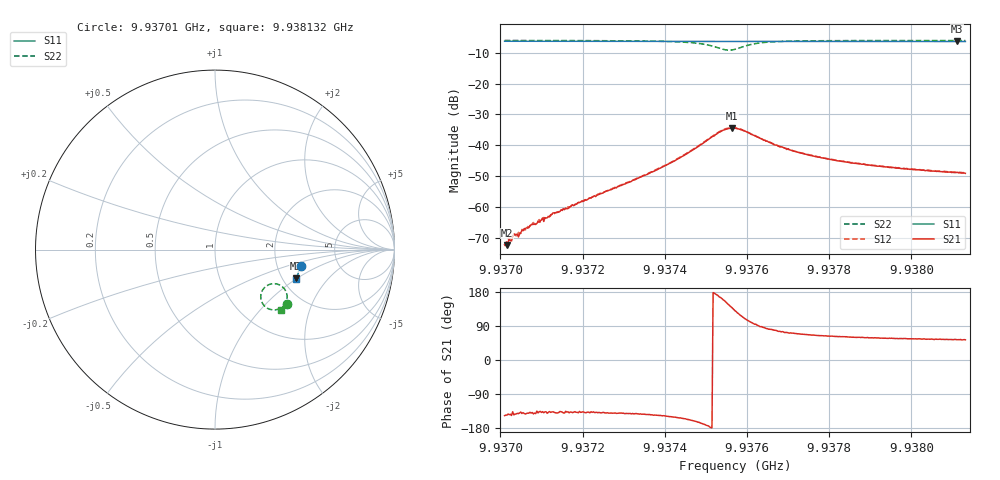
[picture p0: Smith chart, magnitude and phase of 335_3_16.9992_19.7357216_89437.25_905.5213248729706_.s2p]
#  HZ  S  RI  R  50.00
! Rohde & Schwarz Vector Network Analyzer
! Rohde-Schwarz,ZNB20-2Port,1311601062101988,3.16
! Created: UTC 3/20/2024, 11:07:05 PM
! freq[Hz]  re:S11  im:S11  re:S21  im:S21  re:S12  im:S12  re:S22  im:S22
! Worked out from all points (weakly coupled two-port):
!   401 points, 9.93701 GHz to 9.938132 GHz, reference 50 ohm
!   highest |S21| = -34.42 dB at 9.937562 GHz (marker M1); lowest = -72.4 dB at 9.937016 GHz (marker M2)
!   lowest |S11| = -6.4 dB at 9.938112 GHz (marker M3), VSWR 2.85, Z = 118 - j49.3 ohm
!   |S11| at or under -10 dB: nowhere
!   |S22| runs from -9.2 to -6.0 dB; largest |S21 - S12| = 0.00087
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9.93701e9  0.4764 -0.0889  -0.000203 -0.000133  -0.000207 -0.000102  0.3985 -0.3005
9.9370157e9  0.4764 -0.0892  -0.000197 -0.000137  -0.000244 -0.000146  0.398 -0.3008
9.9370213e9  0.4763 -0.0895  -0.000251 -0.000181  -0.000238 -0.000162  0.3977 -0.3014
9.9370353e9  0.476 -0.0905  -0.000284 -0.000215  -0.000285 -0.000213  0.3967 -0.3021
9.9370437e9  0.4757 -0.091  -0.000255 -0.000203  -0.000328 -0.000202  0.396 -0.3029
9.9370577e9  0.4755 -0.092  -0.000346 -0.000279  -0.000337 -0.000261  0.3952 -0.3039
9.9370745e9  0.4753 -0.0932  -0.000393 -0.000329  -0.000373 -0.000324  0.394 -0.3052
9.9371278e9  0.4743 -0.0968  -0.00058 -0.000547  -0.000579 -0.000482  0.3899 -0.3093
9.9371979e9  0.4729 -0.1016  -0.0009 -0.000821  -0.000933 -0.000828  0.3835 -0.3147
9.9373857e9  0.4691 -0.1142  -0.00349 -0.00232  -0.00354 -0.00229  0.3524 -0.3326
9.9374418e9  0.4676 -0.1181  -0.00588 -0.00288  -0.00604 -0.00284  0.3295 -0.3364
9.9374979e9  0.4659 -0.1217  -0.0112 -0.00185  -0.0115 -0.00161  0.2855 -0.3226
9.9375371e9  0.4644 -0.1237  -0.0162 0.00472  -0.0164 0.0054  0.2548 -0.2631
9.9375624e9  0.4638 -0.1243  -0.0144 0.0124  -0.0141 0.013  0.2817 -0.2063
9.9375708e9  0.4639 -0.1247  -0.0122 0.0145  -0.0118 0.0149  0.3009 -0.195
9.9376297e9  0.464 -0.1283  0.000174 0.0133  0.00037 0.0132  0.3924 -0.2274
9.9376857e9  0.4631 -0.1325  0.00244 0.00906  0.00263 0.00888  0.4017 -0.2673
9.9377586e9  0.4615 -0.1374  0.00275 0.00617  0.0029 0.00619  0.3967 -0.2924
9.937854e9  0.4593 -0.1438  0.00257 0.00447  0.00266 0.0045  0.3879 -0.3097
9.9379465e9  0.4569 -0.1497  0.00233 0.00369  0.00246 0.00369  0.3807 -0.3201
9.9381119e9  0.4525 -0.1606  0.00216 0.00292  0.00223 0.00292  0.3692 -0.3339
9.9381315e9  0.4521 -0.1618  0.00209 0.0028  0.00217 0.00283  0.3678 -0.3351
